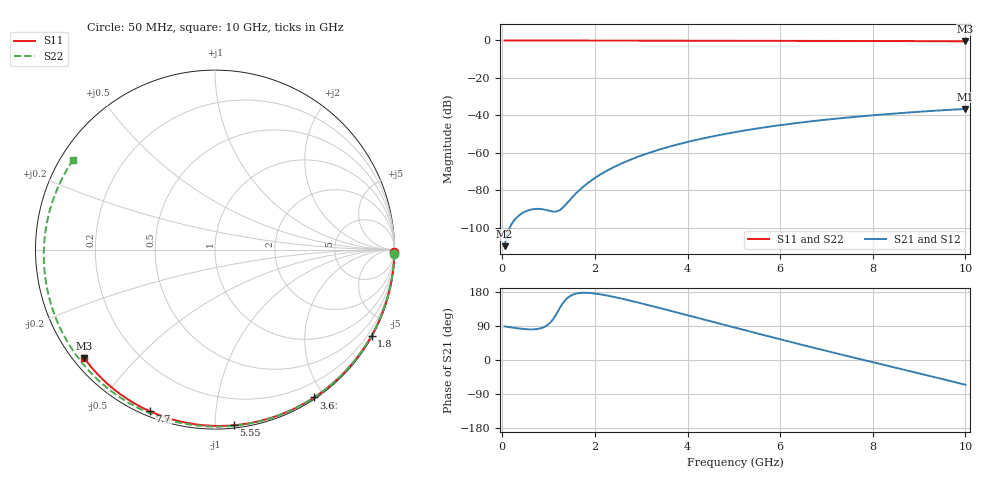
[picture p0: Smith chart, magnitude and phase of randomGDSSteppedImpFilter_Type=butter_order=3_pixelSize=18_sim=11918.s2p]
! freq	dB(S11)	phase(S11)	dB(S12)	phase(S12)
!  dB(S21)	phase(S21)	dB(S22)	phase(S22)
!S-par simulation data
#  GHz  S  DB  R 50
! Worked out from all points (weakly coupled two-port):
!   200 points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, 50 MHz to 10 GHz, reference 50 ohm
!   highest |S21| = -36.62 dB at 10 GHz (marker M1); lowest = -110.0 dB at 50 MHz (marker M2)
!   lowest |S11| = -0.5 dB at 10 GHz (marker M3), VSWR 36.32, Z = 1.55 - j18 ohm
!   |S11| at or under -10 dB: nowhere
!   |S22| runs from -0.6 to 0.0 dB; largest |S21 - S12| = 0
!   S11 on the Smith chart (normalised r, x): 50 MHz: open; 1.8 GHz: 0.03, -3.90; 3.6 GHz: 0.02, -1.87; 5.55 GHz: 0.02, -1.11; 7.7 GHz: 0.02, -0.68; 10 GHz: 0.03, -0.36
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0.05  -0.00 -0.8  -109.96 88.6  -109.96 88.6  -0.00 -1.3
0.4  -0.01 -6.5  -92.81 82.6  -92.81 82.6  -0.01 -10.4
0.8  -0.02 -12.9  -90.04 82.7  -90.04 82.7  -0.03 -20.6
1.2  -0.02 -19.3  -91.22 128.2  -91.22 128.2  -0.04 -30.8
1.65  -0.03 -26.4  -80.35 176.5  -80.35 176.5  -0.05 -42.0
1.75  -0.04 -28.0  -78.14 177.4  -78.14 177.4  -0.06 -44.4
1.8  -0.04 -28.8  -77.12 177.4  -77.12 177.4  -0.06 -45.6
2.1  -0.04 -33.5  -71.91 173.7  -71.91 173.7  -0.07 -52.9
2.45  -0.05 -38.9  -67.20 165.4  -67.20 165.4  -0.08 -61.2
2.9  -0.06 -45.7  -62.45 152.6  -62.45 152.6  -0.09 -71.6
3.4  -0.07 -53.2  -58.27 137.2  -58.27 137.2  -0.11 -82.8
3.6  -0.08 -56.2  -56.83 130.9  -56.83 130.9  -0.11 -87.2
4.3  -0.09 -66.4  -52.54 108.5  -52.54 108.5  -0.14 -102.0
5.05  -0.12 -76.9  -48.90 84.6  -48.90 84.6  -0.17 -117.2
5.55  -0.14 -83.8  -46.88 68.8  -46.88 68.8  -0.20 -127.0
6.15  -0.16 -91.9  -44.78 50.0  -44.78 50.0  -0.24 -138.5
6.7  -0.19 -99.1  -43.13 33.1  -43.13 33.1  -0.27 -148.8
7.2  -0.22 -105.6  -41.81 17.9  -41.81 17.9  -0.31 -158.2
7.7  -0.26 -111.9  -40.64 3.0  -40.64 3.0  -0.35 -167.5
8.35  -0.31 -120.1  -39.29 -16.1  -39.29 -16.1  -0.41 -179.7
9.2  -0.39 -130.6  -37.78 -41.2  -37.78 -41.2  -0.50 163.9
10  -0.48 -140.4  -36.62 -65.5  -36.62 -65.5  -0.58 147.8
